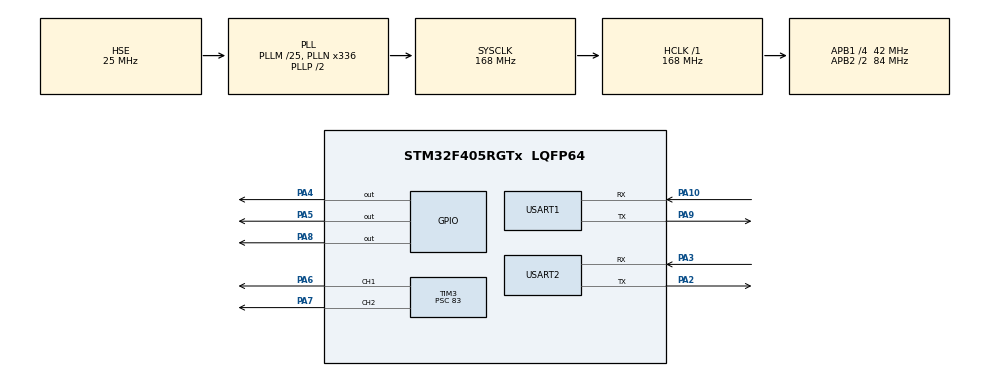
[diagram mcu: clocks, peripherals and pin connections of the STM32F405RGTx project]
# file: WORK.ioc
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Dma.Request0=USART2_RX
Dma.Request1=USART2_TX
Dma.USART2_RX.0.Direction=DMA_PERIPH_TO_MEMORY
Dma.USART2_RX.0.FIFOMode=DMA_FIFOMODE_DISABLE
Dma.USART2_RX.0.Instance=DMA1_Stream5
Dma.USART2_RX.0.MemDataAlignment=DMA_MDATAALIGN_BYTE
Dma.USART2_RX.0.MemInc=DMA_MINC_ENABLE
Dma.USART2_RX.0.Mode=DMA_NORMAL
Dma.USART2_RX.0.PeriphDataAlignment=DMA_PDATAALIGN_BYTE
Dma.USART2_RX.0.PeriphInc=DMA_PINC_DISABLE
Dma.USART2_RX.0.Priority=DMA_PRIORITY_LOW
Dma.USART2_TX.1.Direction=DMA_MEMORY_TO_PERIPH
Dma.USART2_TX.1.FIFOMode=DMA_FIFOMODE_DISABLE
Dma.USART2_TX.1.Instance=DMA1_Stream6
Dma.USART2_TX.1.MemDataAlignment=DMA_MDATAALIGN_BYTE
Dma.USART2_TX.1.MemInc=DMA_MINC_ENABLE
Dma.USART2_TX.1.Mode=DMA_NORMAL
Dma.USART2_TX.1.PeriphDataAlignment=DMA_PDATAALIGN_BYTE
Dma.USART2_TX.1.PeriphInc=DMA_PINC_DISABLE
Dma.USART2_TX.1.Priority=DMA_PRIORITY_LOW
Mcu.Family=STM32F4
Mcu.Name=STM32F405RGTx
Mcu.Package=LQFP64
NVIC.DMA1_Stream5_IRQn=true\:0\:0\:false\:false\:true\:false\:true\:true
NVIC.DMA1_Stream6_IRQn=true\:0\:0\:false\:false\:true\:false\:true\:true
NVIC.PriorityGroup=NVIC_PRIORITYGROUP_4
NVIC.TIM1_UP_TIM10_IRQn=true\:0\:0\:false\:false\:true\:true\:true\:true
NVIC.TIM3_IRQn=true\:0\:0\:false\:false\:true\:true\:true\:true
NVIC.TIM8_UP_TIM13_IRQn=true\:15\:0\:false\:false\:true\:false\:true\:true
NVIC.TimeBase=TIM8_UP_TIM13_IRQn
NVIC.TimeBaseIP=TIM8
NVIC.USART1_IRQn=true\:0\:0\:false\:false\:true\:true\:true\:true
NVIC.USART2_IRQn=true\:0\:0\:false\:false\:true\:true\:true\:true
PA10.GPIO_PuPd=GPIO_PULLUP
PA10.Mode=Asynchronous
PA10.Signal=USART1_RX
PA13.Mode=Serial_Wire
PA13.Signal=SYS_JTMS-SWDIO
PA14.Mode=Serial_Wire
PA14.Signal=SYS_JTCK-SWCLK
PA2.Mode=Asynchronous
PA2.Signal=USART2_TX
PA3.GPIO_PuPd=GPIO_PULLUP
PA3.Mode=Asynchronous
PA3.Signal=USART2_RX
PA4.Signal=GPIO_Output
PA5.Signal=GPIO_Output
PA6.Signal=S_TIM3_CH1
PA7.Signal=S_TIM3_CH2
PA8.Signal=GPIO_Output
PA9.Mode=Asynchronous
PA9.Signal=USART1_TX
PH0-OSC_IN.Mode=HSE-External-Oscillator
PH0-OSC_IN.Signal=RCC_OSC_IN
PH1-OSC_OUT.Mode=HSE-External-Oscillator
PH1-OSC_OUT.Signal=RCC_OSC_OUT
ProjectManager.HeapSize=0x400
ProjectManager.StackSize=0x800
ProjectManager.TargetToolchain=MDK-ARM V5.32
RCC.48MHZClocksFreq_Value=84000000
RCC.AHBFreq_Value=168000000
RCC.APB1CLKDivider=RCC_HCLK_DIV4
RCC.APB1Freq_Value=42000000
RCC.APB1TimFreq_Value=84000000
RCC.APB2CLKDivider=RCC_HCLK_DIV2
RCC.APB2Freq_Value=84000000
RCC.APB2TimFreq_Value=168000000
RCC.CortexFreq_Value=168000000
RCC.HCLKFreq_Value=168000000
RCC.HSE_VALUE=25000000
RCC.HSI_VALUE=16000000
RCC.LSE_VALUE=32768
RCC.PLLM=25
RCC.PLLN=336
RCC.PLLSourceVirtual=RCC_PLLSOURCE_HSE
RCC.SYSCLKFreq_VALUE=168000000
RCC.SYSCLKSource=RCC_SYSCLKSOURCE_PLLCLK
RCC.VCOOutputFreq_Value=336000000
SH.S_TIM3_CH1.0=TIM3_CH1,PWM Generation1 CH1
SH.S_TIM3_CH2.0=TIM3_CH2,PWM Generation2 CH2
TIM1.Period=9999
TIM1.Prescaler=83
TIM3.AutoReloadPreload=TIM_AUTORELOAD_PRELOAD_ENABLE
TIM3.Channel-PWM\ Generation1\ CH1=TIM_CHANNEL_1
TIM3.Channel-PWM\ Generation2\ CH2=TIM_CHANNEL_2
TIM3.Period=999
TIM3.Prescaler=83
USART1.VirtualMode=VM_ASYNC
USART2.VirtualMode=VM_ASYNC
VP_SYS_VS_tim8.Mode=TIM8
VP_TIM1_VS_ClockSourceINT.Mode=Internal
VP_TIM3_VS_ClockSourceINT.Mode=Internal
board=custom

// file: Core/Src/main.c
/* USER CODE BEGIN Header */
/**
  ******************************************************************************
  * @file           : main.c
  * @brief          : Main program body
  ******************************************************************************
  * @attention
  *
  * Copyright (c) 2025 STMicroelectronics.
  * All rights reserved.
  *
  * This software is licensed under terms that can be found in the LICENSE file
  * in the root directory of this software component.
  * If no LICENSE file comes with this software, it is provided AS-IS.
  *
  ******************************************************************************
  */
/* USER CODE END Header */
#include "main.h"
#include "dma.h"
#include "tim.h"
#include "usart.h"
#include "gpio.h"

/* USER CODE BEGIN Includes */
#include "stdio.h"
#include "EventRecorder.h"
#include "LED_BEEP.h"
/* USER CODE END Includes */

void SystemClock_Config(void);

/* USER CODE BEGIN 0 */
	int beep_count=2;
	int sec=40;
	int flag=0;
  float sinValue=0.0f;
	float value;
	unsigned char tail[4] = {0x00, 0x00, 0x80, 0x7f};
/* USER CODE END 0 */

int main(void)
{

  /* USER CODE BEGIN 1 */
	/*commponent configure*/
	EventRecorderInitialize(EventRecordAll,1U);
	EventRecorderStart();
  /* USER CODE END 1 */

  /* MCU Configuration--------------------------------------------------------*/

  /* Reset of all peripherals, Initializes the Flash interface and the Systick. */
  HAL_Init();

  /* Configure the system clock */
  SystemClock_Config();

  /* Initialize all configured peripherals */
  MX_GPIO_Init();
  MX_DMA_Init();
  MX_TIM1_Init();
  MX_TIM3_Init();
  MX_USART1_UART_Init();
  MX_USART2_UART_Init();
  /* USER CODE BEGIN 2 */
	/*start signal*/
	BEEP_ALARM(5);
	LED1_OFF;LED2_ON;
//	HAL_UART_Receive_IT(&huart1,&u1_rx_data_temp,1);
	HAL_UART_Receive_DMA(&huart2,&u2_rx_data_temp,1);
  /* USER CODE END 2 */

  /* Infinite loop */
  /* USER CODE BEGIN WHILE */
//	__HAL_TIM_SetCompare(&htim3,TIM_CHANNEL_1,0);
//	__HAL_TIM_SetCompare(&htim3,TIM_CHANNEL_2,0);
  while (1)
  {
    /* USER CODE END WHILE */

    /* USER CODE BEGIN 3 */

/*single word transitmission*/
//		HAL_Delay(1000);
//		HAL_UART_Transmit_IT(&huart1, buff, buff_add+1);

/*print out the 'sin' wave shape through VOFA*/
		HAL_Delay(200);
		memcpy(buff2,&sinValue,sizeof(float));
		memcpy(buff2+sizeof(float),tail,4*sizeof(unsigned char));
		HAL_UART_Transmit_DMA(&huart2, buff2, 2*sizeof(float));
		//HAL_UART_Transmit_DMA(&huart2, tail, 4*sizeof(unsigned char));
		value+=0.1;
		sinValue=sin(value);

/*WATER_LED and beep alarm*/
//		BEEP_ALARM(1);
//		if(beep_count>0){printf("%d\n",beep_count);BEEP_ALARM(1);beep_count--;}
//		LED_WATER();
//		if(beep_count==0){printf("beep_over\n");beep_count--;}

/*interrupt and breathing led*/
//		if(sec%50<=25)
//		{
//	  	__HAL_TIM_SetCompare(&htim3,TIM_CHANNEL_2,1000-sec);
//  		__HAL_TIM_SetCompare(&htim3,TIM_CHANNEL_1,sec);
//		}
  }
  /* USER CODE END 3 */
}

void SystemClock_Config(void)
{
  RCC_OscInitTypeDef RCC_OscInitStruct = {0};
  RCC_ClkInitTypeDef RCC_ClkInitStruct = {0};

  /** Configure the main internal regulator output voltage
  */
  __HAL_RCC_PWR_CLK_ENABLE();
  __HAL_PWR_VOLTAGESCALING_CONFIG(PWR_REGULATOR_VOLTAGE_SCALE1);

  /** Initializes the RCC Oscillators according to the specified parameters
  * in the RCC_OscInitTypeDef structure.
  */
  RCC_OscInitStruct.OscillatorType = RCC_OSCILLATORTYPE_HSE;
  RCC_OscInitStruct.HSEState = RCC_HSE_ON;
  RCC_OscInitStruct.PLL.PLLState = RCC_PLL_ON;
  RCC_OscInitStruct.PLL.PLLSource = RCC_PLLSOURCE_HSE;
  RCC_OscInitStruct.PLL.PLLM = 25;
  RCC_OscInitStruct.PLL.PLLN = 336;
  RCC_OscInitStruct.PLL.PLLP = RCC_PLLP_DIV2;
  RCC_OscInitStruct.PLL.PLLQ = 4;
  if (HAL_RCC_OscConfig(&RCC_OscInitStruct) != HAL_OK)
  {
    Error_Handler();
  }

  /** Initializes the CPU, AHB and APB buses clocks
  */
  RCC_ClkInitStruct.ClockType = RCC_CLOCKTYPE_HCLK|RCC_CLOCKTYPE_SYSCLK
                              |RCC_CLOCKTYPE_PCLK1|RCC_CLOCKTYPE_PCLK2;
  RCC_ClkInitStruct.SYSCLKSource = RCC_SYSCLKSOURCE_PLLCLK;
  RCC_ClkInitStruct.AHBCLKDivider = RCC_SYSCLK_DIV1;
  RCC_ClkInitStruct.APB1CLKDivider = RCC_HCLK_DIV4;
  RCC_ClkInitStruct.APB2CLKDivider = RCC_HCLK_DIV2;

  if (HAL_RCC_ClockConfig(&RCC_ClkInitStruct, FLASH_LATENCY_5) != HAL_OK)
  {
    Error_Handler();
  }
}

void HAL_TIM_PeriodElapsedCallback(TIM_HandleTypeDef *htim)
{
  if (htim->Instance == TIM8)
  {
    HAL_IncTick();
  }
  /* USER CODE BEGIN Callback 1 */
	if(htim->Instance == TIM1)
	{

		if(flag==0)
		{
			sec+=10;
			if(sec%1000==0){  EventStopA(0);printf("TIM1_Break\n");	EventStartA(0);flag=1;}
	  	if(sec%200==100){LED1_ON;LED2_OFF;}
		  else if(sec%200==0){LED1_OFF;LED2_ON;}
		}
	  else
		{
			sec-=10;
			if(sec%1000==0){
			  EventStopA(0);printf("TIM1_Break\n");	EventStartA(0);
			flag=0;}
	  	if(sec%200==100){LED1_ON;LED2_OFF;}
		  else if(sec%200==0){LED1_OFF;LED2_ON;}
		}

	}
  /* USER CODE END Callback 1 */
}

void Error_Handler(void)
{
  __disable_irq();
  while (1)
  {
  }
}
